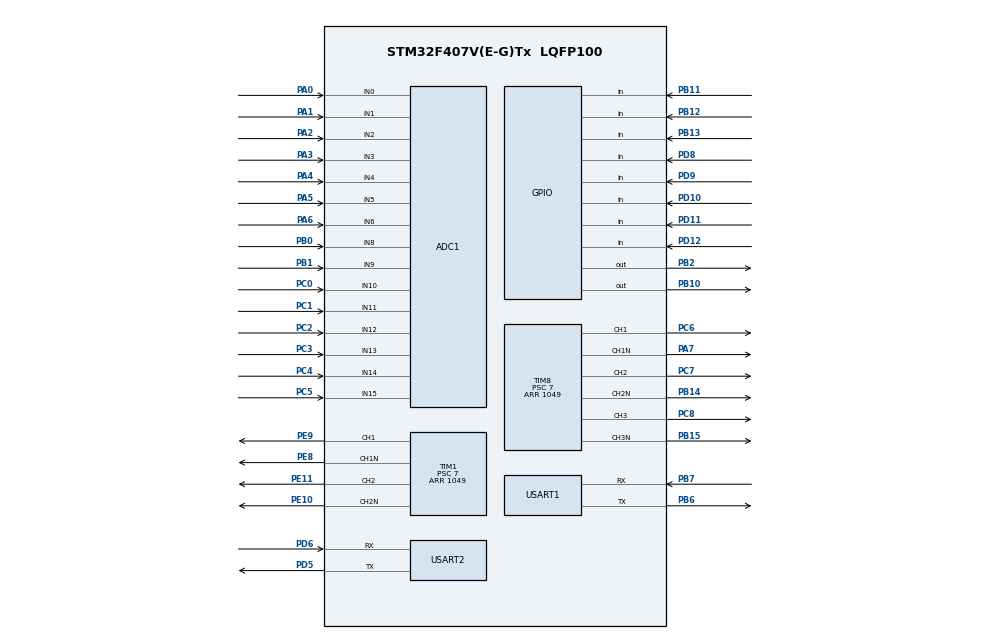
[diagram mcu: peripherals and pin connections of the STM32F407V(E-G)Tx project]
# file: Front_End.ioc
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ADC1.Channel-10\#ChannelRegularConversion=ADC_CHANNEL_2
ADC1.Channel-11\#ChannelRegularConversion=ADC_CHANNEL_3
ADC1.Channel-12\#ChannelRegularConversion=ADC_CHANNEL_4
ADC1.Channel-13\#ChannelRegularConversion=ADC_CHANNEL_5
ADC1.Channel-14\#ChannelRegularConversion=ADC_CHANNEL_6
ADC1.Channel-15\#ChannelRegularConversion=ADC_CHANNEL_8
ADC1.Channel-16\#ChannelRegularConversion=ADC_CHANNEL_9
ADC1.Channel-17\#ChannelRegularConversion=ADC_CHANNEL_10
ADC1.Channel-18\#ChannelRegularConversion=ADC_CHANNEL_11
ADC1.Channel-19\#ChannelRegularConversion=ADC_CHANNEL_12
ADC1.Channel-20\#ChannelRegularConversion=ADC_CHANNEL_13
ADC1.Channel-21\#ChannelRegularConversion=ADC_CHANNEL_14
ADC1.Channel-22\#ChannelRegularConversion=ADC_CHANNEL_15
ADC1.Channel-8\#ChannelRegularConversion=ADC_CHANNEL_0
ADC1.Channel-9\#ChannelRegularConversion=ADC_CHANNEL_1
ADC1.DMAContinuousRequests=ENABLE
ADC1.ExternalTrigConv=ADC_EXTERNALTRIGCONV_T8_TRGO
ADC1.NbrOfConversion=15
ADC1.NbrOfConversionFlag=1
ADC1.Rank-10\#ChannelRegularConversion=3
ADC1.Rank-11\#ChannelRegularConversion=4
ADC1.Rank-12\#ChannelRegularConversion=5
ADC1.Rank-13\#ChannelRegularConversion=6
ADC1.Rank-14\#ChannelRegularConversion=7
ADC1.Rank-15\#ChannelRegularConversion=8
ADC1.Rank-16\#ChannelRegularConversion=9
ADC1.Rank-17\#ChannelRegularConversion=10
ADC1.Rank-18\#ChannelRegularConversion=11
ADC1.Rank-19\#ChannelRegularConversion=12
ADC1.Rank-20\#ChannelRegularConversion=13
ADC1.Rank-21\#ChannelRegularConversion=14
ADC1.Rank-22\#ChannelRegularConversion=15
ADC1.Rank-8\#ChannelRegularConversion=1
ADC1.Rank-9\#ChannelRegularConversion=2
ADC1.SamplingTime-10\#ChannelRegularConversion=ADC_SAMPLETIME_3CYCLES
ADC1.SamplingTime-11\#ChannelRegularConversion=ADC_SAMPLETIME_3CYCLES
ADC1.SamplingTime-12\#ChannelRegularConversion=ADC_SAMPLETIME_3CYCLES
ADC1.SamplingTime-13\#ChannelRegularConversion=ADC_SAMPLETIME_3CYCLES
ADC1.SamplingTime-14\#ChannelRegularConversion=ADC_SAMPLETIME_3CYCLES
ADC1.SamplingTime-15\#ChannelRegularConversion=ADC_SAMPLETIME_3CYCLES
ADC1.SamplingTime-16\#ChannelRegularConversion=ADC_SAMPLETIME_3CYCLES
ADC1.SamplingTime-17\#ChannelRegularConversion=ADC_SAMPLETIME_3CYCLES
ADC1.SamplingTime-18\#ChannelRegularConversion=ADC_SAMPLETIME_3CYCLES
ADC1.SamplingTime-19\#ChannelRegularConversion=ADC_SAMPLETIME_3CYCLES
ADC1.SamplingTime-20\#ChannelRegularConversion=ADC_SAMPLETIME_3CYCLES
ADC1.SamplingTime-21\#ChannelRegularConversion=ADC_SAMPLETIME_3CYCLES
ADC1.SamplingTime-22\#ChannelRegularConversion=ADC_SAMPLETIME_3CYCLES
ADC1.SamplingTime-8\#ChannelRegularConversion=ADC_SAMPLETIME_3CYCLES
ADC1.SamplingTime-9\#ChannelRegularConversion=ADC_SAMPLETIME_3CYCLES
ADC1.ScanConvMode=ENABLE
ADC1.master=1
Dma.ADC1.0.Direction=DMA_PERIPH_TO_MEMORY
Dma.ADC1.0.FIFOMode=DMA_FIFOMODE_DISABLE
Dma.ADC1.0.Instance=DMA2_Stream0
Dma.ADC1.0.MemDataAlignment=DMA_MDATAALIGN_HALFWORD
Dma.ADC1.0.MemInc=DMA_MINC_ENABLE
Dma.ADC1.0.Mode=DMA_CIRCULAR
Dma.ADC1.0.PeriphDataAlignment=DMA_PDATAALIGN_HALFWORD
Dma.ADC1.0.PeriphInc=DMA_PINC_DISABLE
Dma.ADC1.0.Priority=DMA_PRIORITY_HIGH
Dma.Request0=ADC1
Mcu.Family=STM32F4
Mcu.Name=STM32F407V(E-G)Tx
Mcu.Package=LQFP100
NVIC.DMA2_Stream0_IRQn=true\:0\:0\:false\:false\:true\:false\:true\:true
NVIC.PriorityGroup=NVIC_PRIORITYGROUP_0
NVIC.TIM3_IRQn=true\:0\:0\:false\:false\:true\:true\:true\:true
NVIC.TIM8_UP_TIM13_IRQn=true\:0\:0\:false\:false\:true\:true\:true\:true
PA0-WKUP.Signal=ADCx_IN0
PA1.Signal=ADCx_IN1
PA13.Mode=Serial_Wire
PA13.Signal=SYS_JTMS-SWDIO
PA14.Mode=Serial_Wire
PA14.Signal=SYS_JTCK-SWCLK
PA2.Signal=ADCx_IN2
PA3.Signal=ADCx_IN3
PA4.Signal=ADCx_IN4
PA5.Signal=ADCx_IN5
PA6.Signal=ADCx_IN6
PA7.Mode=PWM Generation1 CH1 CH1N
PA7.Signal=TIM8_CH1N
PB0.Signal=ADCx_IN8
PB1.Signal=ADCx_IN9
PB10.Signal=GPIO_Output
PB11.Signal=GPIO_Input
PB12.Signal=GPIO_Input
PB13.Signal=GPIO_Input
PB14.Mode=PWM Generation2 CH2 CH2N
PB14.Signal=TIM8_CH2N
PB15.Mode=PWM Generation3 CH3 CH3N
PB15.Signal=TIM8_CH3N
PB2.Signal=GPIO_Output
PB6.Mode=Asynchronous
PB6.Signal=USART1_TX
PB7.Mode=Asynchronous
PB7.Signal=USART1_RX
PC0.Signal=ADCx_IN10
PC1.Signal=ADCx_IN11
PC2.Signal=ADCx_IN12
PC3.Signal=ADCx_IN13
PC4.Signal=ADCx_IN14
PC5.Signal=ADCx_IN15
PC6.Signal=S_TIM8_CH1
PC7.Signal=S_TIM8_CH2
PC8.Signal=S_TIM8_CH3
PD10.Signal=GPIO_Input
PD11.Signal=GPIO_Input
PD12.Signal=GPIO_Input
PD5.Mode=Asynchronous
PD5.Signal=USART2_TX
PD6.Mode=Asynchronous
PD6.Signal=USART2_RX
PD8.Signal=GPIO_Input
PD9.Signal=GPIO_Input
PE10.Mode=PWM Generation2 CH2 CH2N
PE10.Signal=TIM1_CH2N
PE11.Signal=S_TIM1_CH2
PE8.Mode=PWM Generation1 CH1 CH1N
PE8.Signal=TIM1_CH1N
PE9.Signal=S_TIM1_CH1
ProjectManager.HeapSize=0x200
ProjectManager.StackSize=0x400
ProjectManager.TargetToolchain=STM32CubeIDE
RCC.48MHZClocksFreq_Value=48000000
RCC.AHBFreq_Value=168000000
RCC.APB1CLKDivider=RCC_HCLK_DIV4
RCC.APB1Freq_Value=42000000
RCC.APB1TimFreq_Value=84000000
RCC.APB2CLKDivider=RCC_HCLK_DIV2
RCC.APB2Freq_Value=84000000
RCC.APB2TimFreq_Value=168000000
RCC.CortexFreq_Value=168000000
RCC.HCLKFreq_Value=168000000
RCC.HSE_VALUE=8000000
RCC.HSI_VALUE=16000000
RCC.LSE_VALUE=32768
RCC.PLLM=8
RCC.PLLN=168
RCC.PLLQ=7
RCC.SYSCLKFreq_VALUE=168000000
RCC.SYSCLKSource=RCC_SYSCLKSOURCE_PLLCLK
RCC.VCOOutputFreq_Value=336000000
SH.ADCx_IN0.0=ADC1_IN0,IN0
SH.ADCx_IN1.0=ADC1_IN1,IN1
SH.ADCx_IN10.0=ADC1_IN10,IN10
SH.ADCx_IN11.0=ADC1_IN11,IN11
SH.ADCx_IN12.0=ADC1_IN12,IN12
SH.ADCx_IN13.0=ADC1_IN13,IN13
SH.ADCx_IN14.0=ADC1_IN14,IN14
SH.ADCx_IN15.0=ADC1_IN15,IN15
SH.ADCx_IN2.0=ADC1_IN2,IN2
SH.ADCx_IN3.0=ADC1_IN3,IN3
SH.ADCx_IN4.0=ADC1_IN4,IN4
SH.ADCx_IN5.0=ADC1_IN5,IN5
SH.ADCx_IN6.0=ADC1_IN6,IN6
SH.ADCx_IN8.0=ADC1_IN8,IN8
SH.ADCx_IN9.0=ADC1_IN9,IN9
SH.S_TIM1_CH1.0=TIM1_CH1,PWM Generation1 CH1 CH1N
SH.S_TIM1_CH2.0=TIM1_CH2,PWM Generation2 CH2 CH2N
SH.S_TIM8_CH1.0=TIM8_CH1,PWM Generation1 CH1 CH1N
SH.S_TIM8_CH2.0=TIM8_CH2,PWM Generation2 CH2 CH2N
SH.S_TIM8_CH3.0=TIM8_CH3,PWM Generation3 CH3 CH3N
TIM1.AutomaticOutput=TIM_AUTOMATICOUTPUT_ENABLE
TIM1.BreakState=TIM_BREAK_ENABLE
TIM1.Channel-PWM\ Generation1\ CH1\ CH1N=TIM_CHANNEL_1
TIM1.Channel-PWM\ Generation2\ CH2\ CH2N=TIM_CHANNEL_2
TIM1.CounterMode=TIM_COUNTERMODE_CENTERALIGNED1
TIM1.DeadTime=0x22
TIM1.Period=1049
TIM1.Prescaler=7
TIM1.RepetitionCounter=1
TIM3.Period=55
TIM3.Prescaler=84-1
TIM8.AutomaticOutput=TIM_AUTOMATICOUTPUT_ENABLE
TIM8.BreakState=TIM_BREAK_ENABLE
TIM8.Channel-PWM\ Generation1\ CH1\ CH1N=TIM_CHANNEL_1
TIM8.Channel-PWM\ Generation2\ CH2\ CH2N=TIM_CHANNEL_2
TIM8.Channel-PWM\ Generation3\ CH3\ CH3N=TIM_CHANNEL_3
TIM8.CounterMode=TIM_COUNTERMODE_CENTERALIGNED1
TIM8.DeadTime=0xca
TIM8.Period=1049
TIM8.Prescaler=7
TIM8.RepetitionCounter=1
TIM8.TIM_MasterOutputTrigger=TIM_TRGO_UPDATE
TIM8.TIM_MasterSlaveMode=TIM_MASTERSLAVEMODE_ENABLE
USART1.VirtualMode=VM_ASYNC
USART2.VirtualMode=VM_ASYNC
VP_TIM1_VS_ClockSourceINT.Mode=Internal
VP_TIM1_VS_ClockSourceITR.Mode=TriggerSource_ITR3
VP_TIM1_VS_ControllerModeTrigger.Mode=Trigger Mode
VP_TIM3_VS_ClockSourceINT.Mode=Internal
VP_TIM8_VS_ClockSourceINT.Mode=Internal
board=STM32F407G-DISC1

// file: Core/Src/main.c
/* USER CODE BEGIN Header */
/**
  ******************************************************************************
  * @file           : main.c
  * @brief          : Main program body
  ******************************************************************************
  * @attention
  *
  * Copyright (c) 2025 STMicroelectronics.
  * All rights reserved.
  *
  * This software is licensed under terms that can be found in the LICENSE file
  * in the root directory of this software component.
  * If no LICENSE file comes with this software, it is provided AS-IS.
  *
  ******************************************************************************
  */
/* USER CODE END Header */
#include "main.h"

/* USER CODE BEGIN Includes */
#include "stm32f4xx.h"
#include <stdint.h>
#include "variables.h"
#include <math.h>

/* USER CODE END Includes */

UART_HandleTypeDef huart1;

/* USER CODE BEGIN PV */

uint16_t a = 0;
uint16_t b = 0;

/* USER CODE END PV */

void SystemClock_Config(void);
static void MX_GPIO_Init(void);
static void MX_DMA_Init(void);
static void MX_TIM3_Init(void);
static void MX_TIM8_Init(void);
static void MX_ADC1_Init(void);
static void MX_USART2_UART_Init(void);
static void MX_TIM1_Init(void);
static void MX_USART1_UART_Init(void);

int main(void)
{

  /* MCU Configuration--------------------------------------------------------*/

  /* Reset of all peripherals, Initializes the Flash interface and the Systick. */
  HAL_Init();

  /* Configure the system clock */
  SystemClock_Config();

  /* Initialize all configured peripherals */
  MX_GPIO_Init();
  MX_DMA_Init();
  MX_TIM3_Init();
  MX_TIM8_Init();
  MX_ADC1_Init();
  MX_USART2_UART_Init();
  MX_TIM1_Init();
  MX_USART1_UART_Init();

  /* Infinite loop */
  while (1)
  {

    /* USER CODE BEGIN 3 */
	  convert_txn_array_to_base64();
	  rms_calculation_to_be_placed_in_while_loop();
	  avg_calculation_to_be_placed_in_while_loop();
  }
  /* USER CODE END 3 */
}

void SystemClock_Config(void)
{
  LL_FLASH_SetLatency(LL_FLASH_LATENCY_5);
  while(LL_FLASH_GetLatency()!= LL_FLASH_LATENCY_5)
  {
  }
  LL_PWR_SetRegulVoltageScaling(LL_PWR_REGU_VOLTAGE_SCALE1);
  LL_RCC_HSI_SetCalibTrimming(16);
  LL_RCC_HSI_Enable();

   /* Wait till HSI is ready */
  while(LL_RCC_HSI_IsReady() != 1)
  {

  }
  LL_RCC_PLL_ConfigDomain_SYS(LL_RCC_PLLSOURCE_HSI, LL_RCC_PLLM_DIV_8, 168, LL_RCC_PLLP_DIV_2);
  LL_RCC_PLL_Enable();

   /* Wait till PLL is ready */
  while(LL_RCC_PLL_IsReady() != 1)
  {

  }
  while (LL_PWR_IsActiveFlag_VOS() == 0)
  {
  }
  LL_RCC_SetAHBPrescaler(LL_RCC_SYSCLK_DIV_1);
  LL_RCC_SetAPB1Prescaler(LL_RCC_APB1_DIV_4);
  LL_RCC_SetAPB2Prescaler(LL_RCC_APB2_DIV_2);
  LL_RCC_SetSysClkSource(LL_RCC_SYS_CLKSOURCE_PLL);

   /* Wait till System clock is ready */
  while(LL_RCC_GetSysClkSource() != LL_RCC_SYS_CLKSOURCE_STATUS_PLL)
  {

  }
  LL_SetSystemCoreClock(168000000);

   /* Update the time base */
  if (HAL_InitTick (TICK_INT_PRIORITY) != HAL_OK)
  {
    Error_Handler();
  }
}

static void MX_ADC1_Init(void)
{

  LL_ADC_InitTypeDef ADC_InitStruct = {0};
  LL_ADC_REG_InitTypeDef ADC_REG_InitStruct = {0};
  LL_ADC_CommonInitTypeDef ADC_CommonInitStruct = {0};

  LL_GPIO_InitTypeDef GPIO_InitStruct = {0};

  /* Peripheral clock enable */
  LL_APB2_GRP1_EnableClock(LL_APB2_GRP1_PERIPH_ADC1);

  LL_AHB1_GRP1_EnableClock(LL_AHB1_GRP1_PERIPH_GPIOC);
  LL_AHB1_GRP1_EnableClock(LL_AHB1_GRP1_PERIPH_GPIOA);
  LL_AHB1_GRP1_EnableClock(LL_AHB1_GRP1_PERIPH_GPIOB);
  /**ADC1 GPIO Configuration
  PC0   ------> ADC1_IN10
  PC1   ------> ADC1_IN11
  PC2   ------> ADC1_IN12
  PC3   ------> ADC1_IN13
  PA0-WKUP   ------> ADC1_IN0
  PA1   ------> ADC1_IN1
  PA2   ------> ADC1_IN2
  PA3   ------> ADC1_IN3
  PA4   ------> ADC1_IN4
  PA5   ------> ADC1_IN5
  PA6   ------> ADC1_IN6
  PC4   ------> ADC1_IN14
  PC5   ------> ADC1_IN15
  PB0   ------> ADC1_IN8
  PB1   ------> ADC1_IN9
  */
  GPIO_InitStruct.Pin = LL_GPIO_PIN_0|LL_GPIO_PIN_1|LL_GPIO_PIN_2|LL_GPIO_PIN_3
                          |LL_GPIO_PIN_4|LL_GPIO_PIN_5;
  GPIO_InitStruct.Mode = LL_GPIO_MODE_ANALOG;
  GPIO_InitStruct.Pull = LL_GPIO_PULL_NO;
  LL_GPIO_Init(GPIOC, &GPIO_InitStruct);

  GPIO_InitStruct.Pin = LL_GPIO_PIN_0|LL_GPIO_PIN_1|LL_GPIO_PIN_2|LL_GPIO_PIN_3
                          |LL_GPIO_PIN_4|LL_GPIO_PIN_5|LL_GPIO_PIN_6;
  GPIO_InitStruct.Mode = LL_GPIO_MODE_ANALOG;
  GPIO_InitStruct.Pull = LL_GPIO_PULL_NO;
  LL_GPIO_Init(GPIOA, &GPIO_InitStruct);

  GPIO_InitStruct.Pin = LL_GPIO_PIN_0|LL_GPIO_PIN_1;
  GPIO_InitStruct.Mode = LL_GPIO_MODE_ANALOG;
  GPIO_InitStruct.Pull = LL_GPIO_PULL_NO;
  LL_GPIO_Init(GPIOB, &GPIO_InitStruct);

  /* ADC1 DMA Init */

  /* ADC1 Init */
  LL_DMA_SetChannelSelection(DMA2, LL_DMA_STREAM_0, LL_DMA_CHANNEL_0);

  LL_DMA_SetDataTransferDirection(DMA2, LL_DMA_STREAM_0, LL_DMA_DIRECTION_PERIPH_TO_MEMORY);

  LL_DMA_SetStreamPriorityLevel(DMA2, LL_DMA_STREAM_0, LL_DMA_PRIORITY_HIGH);

  LL_DMA_SetMode(DMA2, LL_DMA_STREAM_0, LL_DMA_MODE_CIRCULAR);

  LL_DMA_SetPeriphIncMode(DMA2, LL_DMA_STREAM_0, LL_DMA_PERIPH_NOINCREMENT);

  LL_DMA_SetMemoryIncMode(DMA2, LL_DMA_STREAM_0, LL_DMA_MEMORY_INCREMENT);

  LL_DMA_SetPeriphSize(DMA2, LL_DMA_STREAM_0, LL_DMA_PDATAALIGN_HALFWORD);

  LL_DMA_SetMemorySize(DMA2, LL_DMA_STREAM_0, LL_DMA_MDATAALIGN_HALFWORD);

  LL_DMA_DisableFifoMode(DMA2, LL_DMA_STREAM_0);

  /** Common config
  */
  ADC_InitStruct.Resolution = LL_ADC_RESOLUTION_12B;
  ADC_InitStruct.DataAlignment = LL_ADC_DATA_ALIGN_RIGHT;
  ADC_InitStruct.SequencersScanMode = LL_ADC_SEQ_SCAN_ENABLE;
  LL_ADC_Init(ADC1, &ADC_InitStruct);
  ADC_REG_InitStruct.TriggerSource = LL_ADC_REG_TRIG_EXT_TIM8_TRGO;
  ADC_REG_InitStruct.SequencerLength = LL_ADC_REG_SEQ_SCAN_ENABLE_15RANKS;
  ADC_REG_InitStruct.SequencerDiscont = LL_ADC_REG_SEQ_DISCONT_DISABLE;
  ADC_REG_InitStruct.ContinuousMode = LL_ADC_REG_CONV_SINGLE;
  ADC_REG_InitStruct.DMATransfer = LL_ADC_REG_DMA_TRANSFER_UNLIMITED;
  LL_ADC_REG_Init(ADC1, &ADC_REG_InitStruct);
  LL_ADC_REG_SetFlagEndOfConversion(ADC1, LL_ADC_REG_FLAG_EOC_UNITARY_CONV);
  ADC_CommonInitStruct.CommonClock = LL_ADC_CLOCK_SYNC_PCLK_DIV4;
  ADC_CommonInitStruct.Multimode = LL_ADC_MULTI_INDEPENDENT;
  LL_ADC_CommonInit(__LL_ADC_COMMON_INSTANCE(ADC1), &ADC_CommonInitStruct);
  LL_ADC_REG_StartConversionExtTrig(ADC1, LL_ADC_REG_TRIG_EXT_RISING);

  /** Configure Regular Channel
  */
  LL_ADC_REG_SetSequencerRanks(ADC1, LL_ADC_REG_RANK_1, LL_ADC_CHANNEL_0);
  LL_ADC_SetChannelSamplingTime(ADC1, LL_ADC_CHANNEL_0, LL_ADC_SAMPLINGTIME_3CYCLES);

  /** Configure Regular Channel
  */
  LL_ADC_REG_SetSequencerRanks(ADC1, LL_ADC_REG_RANK_2, LL_ADC_CHANNEL_1);
  LL_ADC_SetChannelSamplingTime(ADC1, LL_ADC_CHANNEL_1, LL_ADC_SAMPLINGTIME_3CYCLES);

  /** Configure Regular Channel
  */
  LL_ADC_REG_SetSequencerRanks(ADC1, LL_ADC_REG_RANK_3, LL_ADC_CHANNEL_2);
  LL_ADC_SetChannelSamplingTime(ADC1, LL_ADC_CHANNEL_2, LL_ADC_SAMPLINGTIME_3CYCLES);

  /** Configure Regular Channel
  */
  LL_ADC_REG_SetSequencerRanks(ADC1, LL_ADC_REG_RANK_4, LL_ADC_CHANNEL_3);
  LL_ADC_SetChannelSamplingTime(ADC1, LL_ADC_CHANNEL_3, LL_ADC_SAMPLINGTIME_3CYCLES);

  /** Configure Regular Channel
  */
  LL_ADC_REG_SetSequencerRanks(ADC1, LL_ADC_REG_RANK_5, LL_ADC_CHANNEL_4);
  LL_ADC_SetChannelSamplingTime(ADC1, LL_ADC_CHANNEL_4, LL_ADC_SAMPLINGTIME_3CYCLES);

  /** Configure Regular Channel
  */
  LL_ADC_REG_SetSequencerRanks(ADC1, LL_ADC_REG_RANK_6, LL_ADC_CHANNEL_5);
  LL_ADC_SetChannelSamplingTime(ADC1, LL_ADC_CHANNEL_5, LL_ADC_SAMPLINGTIME_3CYCLES);

  /** Configure Regular Channel
  */
  LL_ADC_REG_SetSequencerRanks(ADC1, LL_ADC_REG_RANK_7, LL_ADC_CHANNEL_6);
  LL_ADC_SetChannelSamplingTime(ADC1, LL_ADC_CHANNEL_6, LL_ADC_SAMPLINGTIME_3CYCLES);

  /** Configure Regular Channel
  */
  LL_ADC_REG_SetSequencerRanks(ADC1, LL_ADC_REG_RANK_8, LL_ADC_CHANNEL_8);
  LL_ADC_SetChannelSamplingTime(ADC1, LL_ADC_CHANNEL_8, LL_ADC_SAMPLINGTIME_3CYCLES);

  /** Configure Regular Channel
  */
  LL_ADC_REG_SetSequencerRanks(ADC1, LL_ADC_REG_RANK_9, LL_ADC_CHANNEL_9);
  LL_ADC_SetChannelSamplingTime(ADC1, LL_ADC_CHANNEL_9, LL_ADC_SAMPLINGTIME_3CYCLES);

  /** Configure Regular Channel
  */
  LL_ADC_REG_SetSequencerRanks(ADC1, LL_ADC_REG_RANK_10, LL_ADC_CHANNEL_10);
  LL_ADC_SetChannelSamplingTime(ADC1, LL_ADC_CHANNEL_10, LL_ADC_SAMPLINGTIME_3CYCLES);

  /** Configure Regular Channel
  */
  LL_ADC_REG_SetSequencerRanks(ADC1, LL_ADC_REG_RANK_11, LL_ADC_CHANNEL_11);
  LL_ADC_SetChannelSamplingTime(ADC1, LL_ADC_CHANNEL_11, LL_ADC_SAMPLINGTIME_3CYCLES);

  /** Configure Regular Channel
  */
  LL_ADC_REG_SetSequencerRanks(ADC1, LL_ADC_REG_RANK_12, LL_ADC_CHANNEL_12);
  LL_ADC_SetChannelSamplingTime(ADC1, LL_ADC_CHANNEL_12, LL_ADC_SAMPLINGTIME_3CYCLES);

  /** Configure Regular Channel
  */
  LL_ADC_REG_SetSequencerRanks(ADC1, LL_ADC_REG_RANK_13, LL_ADC_CHANNEL_13);
  LL_ADC_SetChannelSamplingTime(ADC1, LL_ADC_CHANNEL_13, LL_ADC_SAMPLINGTIME_3CYCLES);

  /** Configure Regular Channel
  */
  LL_ADC_REG_SetSequencerRanks(ADC1, LL_ADC_REG_RANK_14, LL_ADC_CHANNEL_14);
  LL_ADC_SetChannelSamplingTime(ADC1, LL_ADC_CHANNEL_14, LL_ADC_SAMPLINGTIME_3CYCLES);

  /** Configure Regular Channel
  */
  LL_ADC_REG_SetSequencerRanks(ADC1, LL_ADC_REG_RANK_15, LL_ADC_CHANNEL_15);
  LL_ADC_SetChannelSamplingTime(ADC1, LL_ADC_CHANNEL_15, LL_ADC_SAMPLINGTIME_3CYCLES);
  /* USER CODE BEGIN ADC1_Init 2 */

  LL_DMA_SetMemoryAddress(DMA2, LL_DMA_STREAM_0, (uint32_t)adc_buffer);
  LL_DMA_SetPeriphAddress(DMA2, LL_DMA_STREAM_0, (uint32_t)&ADC1->DR);
  LL_DMA_SetDataLength(DMA2, LL_DMA_STREAM_0, ADC_LENGHT);
  LL_DMA_EnableStream(DMA2, LL_DMA_STREAM_0);

  LL_ADC_Enable(ADC1);
  LL_ADC_REG_StartConversionExtTrig(ADC1, LL_ADC_REG_TRIG_EXT_RISING);

  /* USER CODE END ADC1_Init 2 */

}

static void MX_TIM1_Init(void)
{

  LL_TIM_InitTypeDef TIM_InitStruct = {0};
  LL_TIM_OC_InitTypeDef TIM_OC_InitStruct = {0};
  LL_TIM_BDTR_InitTypeDef TIM_BDTRInitStruct = {0};

  LL_GPIO_InitTypeDef GPIO_InitStruct = {0};

  /* Peripheral clock enable */
  LL_APB2_GRP1_EnableClock(LL_APB2_GRP1_PERIPH_TIM1);

  TIM_InitStruct.Prescaler = 7;
  TIM_InitStruct.CounterMode = LL_TIM_COUNTERMODE_CENTER_DOWN;
  TIM_InitStruct.Autoreload = 1049;
  TIM_InitStruct.ClockDivision = LL_TIM_CLOCKDIVISION_DIV1;
  TIM_InitStruct.RepetitionCounter = 1;
  LL_TIM_Init(TIM1, &TIM_InitStruct);
  LL_TIM_DisableARRPreload(TIM1);
  LL_TIM_SetClockSource(TIM1, LL_TIM_CLOCKSOURCE_INTERNAL);
  LL_TIM_OC_EnablePreload(TIM1, LL_TIM_CHANNEL_CH1);
  TIM_OC_InitStruct.OCMode = LL_TIM_OCMODE_PWM1;
  TIM_OC_InitStruct.OCState = LL_TIM_OCSTATE_DISABLE;
  TIM_OC_InitStruct.OCNState = LL_TIM_OCSTATE_DISABLE;
  TIM_OC_InitStruct.CompareValue = 0;
  TIM_OC_InitStruct.OCPolarity = LL_TIM_OCPOLARITY_HIGH;
  TIM_OC_InitStruct.OCNPolarity = LL_TIM_OCPOLARITY_HIGH;
  TIM_OC_InitStruct.OCIdleState = LL_TIM_OCIDLESTATE_LOW;
  TIM_OC_InitStruct.OCNIdleState = LL_TIM_OCIDLESTATE_LOW;
  LL_TIM_OC_Init(TIM1, LL_TIM_CHANNEL_CH1, &TIM_OC_InitStruct);
  LL_TIM_OC_DisableFast(TIM1, LL_TIM_CHANNEL_CH1);
  LL_TIM_OC_EnablePreload(TIM1, LL_TIM_CHANNEL_CH2);
  LL_TIM_OC_Init(TIM1, LL_TIM_CHANNEL_CH2, &TIM_OC_InitStruct);
  LL_TIM_OC_DisableFast(TIM1, LL_TIM_CHANNEL_CH2);
  LL_TIM_SetTriggerInput(TIM1, LL_TIM_TS_ITR3);
  LL_TIM_SetSlaveMode(TIM1, LL_TIM_SLAVEMODE_TRIGGER);
  LL_TIM_DisableIT_TRIG(TIM1);
  LL_TIM_DisableDMAReq_TRIG(TIM1);
  LL_TIM_SetTriggerOutput(TIM1, LL_TIM_TRGO_RESET);
  LL_TIM_DisableMasterSlaveMode(TIM1);
  TIM_BDTRInitStruct.OSSRState = LL_TIM_OSSR_DISABLE;
  TIM_BDTRInitStruct.OSSIState = LL_TIM_OSSI_DISABLE;
  TIM_BDTRInitStruct.LockLevel = LL_TIM_LOCKLEVEL_OFF;
  TIM_BDTRInitStruct.DeadTime = 0x22;
  TIM_BDTRInitStruct.BreakState = LL_TIM_BREAK_ENABLE;
  TIM_BDTRInitStruct.BreakPolarity = LL_TIM_BREAK_POLARITY_HIGH;
  TIM_BDTRInitStruct.AutomaticOutput = LL_TIM_AUTOMATICOUTPUT_ENABLE;
  LL_TIM_BDTR_Init(TIM1, &TIM_BDTRInitStruct);
  /* USER CODE BEGIN TIM1_Init 2 */

  TIM_OC_InitStruct.OCState = LL_TIM_OCSTATE_ENABLE;
  TIM_OC_InitStruct.OCNState = LL_TIM_OCSTATE_ENABLE;

//  LL_TIM_EnableIT_UPDATE(TIM1);
  LL_TIM_CC_EnableChannel(TIM1, LL_TIM_CHANNEL_CH1);
  LL_TIM_CC_EnableChannel(TIM1, LL_TIM_CHANNEL_CH2);

  LL_TIM_CC_EnableChannel(TIM1, LL_TIM_CHANNEL_CH1N);
  LL_TIM_CC_EnableChannel(TIM1, LL_TIM_CHANNEL_CH2N);

  // Enable main output for advanced timer (if not complementry or pwm won't work)
  LL_TIM_EnableAllOutputs(TIM1);

  // start counter
  LL_TIM_EnableCounter(TIM1);

  /* USER CODE END TIM1_Init 2 */
  LL_AHB1_GRP1_EnableClock(LL_AHB1_GRP1_PERIPH_GPIOE);
  /**TIM1 GPIO Configuration
  PE8   ------> TIM1_CH1N
  PE9   ------> TIM1_CH1
  PE10   ------> TIM1_CH2N
  PE11   ------> TIM1_CH2
  */
  GPIO_InitStruct.Pin = LL_GPIO_PIN_8|LL_GPIO_PIN_9|LL_GPIO_PIN_10|LL_GPIO_PIN_11;
  GPIO_InitStruct.Mode = LL_GPIO_MODE_ALTERNATE;
  GPIO_InitStruct.Speed = LL_GPIO_SPEED_FREQ_LOW;
  GPIO_InitStruct.OutputType = LL_GPIO_OUTPUT_PUSHPULL;
  GPIO_InitStruct.Pull = LL_GPIO_PULL_NO;
  GPIO_InitStruct.Alternate = LL_GPIO_AF_1;
  LL_GPIO_Init(GPIOE, &GPIO_InitStruct);

}

static void MX_TIM3_Init(void)
{

  LL_TIM_InitTypeDef TIM_InitStruct = {0};

  /* Peripheral clock enable */
  LL_APB1_GRP1_EnableClock(LL_APB1_GRP1_PERIPH_TIM3);

  /* TIM3 interrupt Init */
  NVIC_SetPriority(TIM3_IRQn, NVIC_EncodePriority(NVIC_GetPriorityGrouping(),0, 0));
  NVIC_EnableIRQ(TIM3_IRQn);

  /* USER CODE BEGIN TIM3_Init 1 */

  TIM_InitStruct.Prescaler = 83;
  TIM_InitStruct.CounterMode = LL_TIM_COUNTERMODE_UP;
  TIM_InitStruct.Autoreload = timer3_variables.Tim3_ARR_Value;

  /* USER CODE END TIM3_Init 1 */
  TIM_InitStruct.Prescaler = 83;
  TIM_InitStruct.CounterMode = LL_TIM_COUNTERMODE_UP;
  TIM_InitStruct.Autoreload = 55;
  TIM_InitStruct.ClockDivision = LL_TIM_CLOCKDIVISION_DIV1;
  LL_TIM_Init(TIM3, &TIM_InitStruct);
  LL_TIM_DisableARRPreload(TIM3);
  LL_TIM_SetClockSource(TIM3, LL_TIM_CLOCKSOURCE_INTERNAL);
  LL_TIM_SetTriggerOutput(TIM3, LL_TIM_TRGO_RESET);
  LL_TIM_DisableMasterSlaveMode(TIM3);
  /* USER CODE BEGIN TIM3_Init 2 */

  LL_TIM_EnableIT_UPDATE(TIM3);
  LL_TIM_EnableCounter(TIM3);

  /* USER CODE END TIM3_Init 2 */

}

static void MX_TIM8_Init(void)
{

  LL_TIM_InitTypeDef TIM_InitStruct = {0};
  LL_TIM_OC_InitTypeDef TIM_OC_InitStruct = {0};
  LL_TIM_BDTR_InitTypeDef TIM_BDTRInitStruct = {0};

  LL_GPIO_InitTypeDef GPIO_InitStruct = {0};

  /* Peripheral clock enable */
  LL_APB2_GRP1_EnableClock(LL_APB2_GRP1_PERIPH_TIM8);

  /* TIM8 interrupt Init */
  NVIC_SetPriority(TIM8_UP_TIM13_IRQn, NVIC_EncodePriority(NVIC_GetPriorityGrouping(),0, 0));
  NVIC_EnableIRQ(TIM8_UP_TIM13_IRQn);

  TIM_InitStruct.Prescaler = 7;
  TIM_InitStruct.CounterMode = LL_TIM_COUNTERMODE_CENTER_DOWN;
  TIM_InitStruct.Autoreload = 1049;
  TIM_InitStruct.ClockDivision = LL_TIM_CLOCKDIVISION_DIV1;
  TIM_InitStruct.RepetitionCounter = 1;
  LL_TIM_Init(TIM8, &TIM_InitStruct);
  LL_TIM_DisableARRPreload(TIM8);
  LL_TIM_SetClockSource(TIM8, LL_TIM_CLOCKSOURCE_INTERNAL);
  LL_TIM_OC_EnablePreload(TIM8, LL_TIM_CHANNEL_CH1);
  TIM_OC_InitStruct.OCMode = LL_TIM_OCMODE_PWM1;
  TIM_OC_InitStruct.OCState = LL_TIM_OCSTATE_DISABLE;
  TIM_OC_InitStruct.OCNState = LL_TIM_OCSTATE_DISABLE;
  TIM_OC_InitStruct.CompareValue = 0;
  TIM_OC_InitStruct.OCPolarity = LL_TIM_OCPOLARITY_HIGH;
  TIM_OC_InitStruct.OCNPolarity = LL_TIM_OCPOLARITY_HIGH;
  TIM_OC_InitStruct.OCIdleState = LL_TIM_OCIDLESTATE_LOW;
  TIM_OC_InitStruct.OCNIdleState = LL_TIM_OCIDLESTATE_LOW;
  LL_TIM_OC_Init(TIM8, LL_TIM_CHANNEL_CH1, &TIM_OC_InitStruct);
  LL_TIM_OC_DisableFast(TIM8, LL_TIM_CHANNEL_CH1);
  LL_TIM_OC_EnablePreload(TIM8, LL_TIM_CHANNEL_CH2);
  LL_TIM_OC_Init(TIM8, LL_TIM_CHANNEL_CH2, &TIM_OC_InitStruct);
  LL_TIM_OC_DisableFast(TIM8, LL_TIM_CHANNEL_CH2);
  LL_TIM_OC_EnablePreload(TIM8, LL_TIM_CHANNEL_CH3);
  LL_TIM_OC_Init(TIM8, LL_TIM_CHANNEL_CH3, &TIM_OC_InitStruct);
  LL_TIM_OC_DisableFast(TIM8, LL_TIM_CHANNEL_CH3);
  LL_TIM_SetTriggerOutput(TIM8, LL_TIM_TRGO_UPDATE);
  LL_TIM_EnableMasterSlaveMode(TIM8);
  TIM_BDTRInitStruct.OSSRState = LL_TIM_OSSR_DISABLE;
  TIM_BDTRInitStruct.OSSIState = LL_TIM_OSSI_DISABLE;
  TIM_BDTRInitStruct.LockLevel = LL_TIM_LOCKLEVEL_OFF;
  TIM_BDTRInitStruct.DeadTime = 0xca;
  TIM_BDTRInitStruct.BreakState = LL_TIM_BREAK_ENABLE;
  TIM_BDTRInitStruct.BreakPolarity = LL_TIM_BREAK_POLARITY_HIGH;
  TIM_BDTRInitStruct.AutomaticOutput = LL_TIM_AUTOMATICOUTPUT_ENABLE;
  LL_TIM_BDTR_Init(TIM8, &TIM_BDTRInitStruct);
  /* USER CODE BEGIN TIM8_Init 2 */

  TIM_OC_InitStruct.OCState = LL_TIM_OCSTATE_ENABLE;
  TIM_OC_InitStruct.OCNState = LL_TIM_OCSTATE_ENABLE;

  LL_TIM_EnableIT_UPDATE(TIM8);
  LL_TIM_SetTriggerOutput(TIM8, LL_TIM_TRGO_UPDATE);

  // Enable PWM channels
  LL_TIM_CC_EnableChannel(TIM8, LL_TIM_CHANNEL_CH1);
  LL_TIM_CC_EnableChannel(TIM8, LL_TIM_CHANNEL_CH2);
  LL_TIM_CC_EnableChannel(TIM8, LL_TIM_CHANNEL_CH3);

  // Enable complementary outputs
  LL_TIM_CC_EnableChannel(TIM8, LL_TIM_CHANNEL_CH1N);
  LL_TIM_CC_EnableChannel(TIM8, LL_TIM_CHANNEL_CH2N);
  LL_TIM_CC_EnableChannel(TIM8, LL_TIM_CHANNEL_CH3N);

  // Enable main output for advanced timer (if not complementry or pwm won't work)
  LL_TIM_EnableAllOutputs(TIM8);

  // start counter
  LL_TIM_EnableCounter(TIM8);

  /* USER CODE END TIM8_Init 2 */
  LL_AHB1_GRP1_EnableClock(LL_AHB1_GRP1_PERIPH_GPIOA);
  LL_AHB1_GRP1_EnableClock(LL_AHB1_GRP1_PERIPH_GPIOB);
  LL_AHB1_GRP1_EnableClock(LL_AHB1_GRP1_PERIPH_GPIOC);
  /**TIM8 GPIO Configuration
  PA7   ------> TIM8_CH1N
  PB14   ------> TIM8_CH2N
  PB15   ------> TIM8_CH3N
  PC6   ------> TIM8_CH1
  PC7   ------> TIM8_CH2
  PC8   ------> TIM8_CH3
  */
  GPIO_InitStruct.Pin = LL_GPIO_PIN_7;
  GPIO_InitStruct.Mode = LL_GPIO_MODE_ALTERNATE;
  GPIO_InitStruct.Speed = LL_GPIO_SPEED_FREQ_LOW;
  GPIO_InitStruct.OutputType = LL_GPIO_OUTPUT_PUSHPULL;
  GPIO_InitStruct.Pull = LL_GPIO_PULL_NO;
  GPIO_InitStruct.Alternate = LL_GPIO_AF_3;
  LL_GPIO_Init(GPIOA, &GPIO_InitStruct);

  GPIO_InitStruct.Pin = LL_GPIO_PIN_14|LL_GPIO_PIN_15;
  GPIO_InitStruct.Mode = LL_GPIO_MODE_ALTERNATE;
  GPIO_InitStruct.Speed = LL_GPIO_SPEED_FREQ_LOW;
  GPIO_InitStruct.OutputType = LL_GPIO_OUTPUT_PUSHPULL;
  GPIO_InitStruct.Pull = LL_GPIO_PULL_NO;
  GPIO_InitStruct.Alternate = LL_GPIO_AF_3;
  LL_GPIO_Init(GPIOB, &GPIO_InitStruct);

  GPIO_InitStruct.Pin = LL_GPIO_PIN_6|LL_GPIO_PIN_7|LL_GPIO_PIN_8;
  GPIO_InitStruct.Mode = LL_GPIO_MODE_ALTERNATE;
  GPIO_InitStruct.Speed = LL_GPIO_SPEED_FREQ_LOW;
  GPIO_InitStruct.OutputType = LL_GPIO_OUTPUT_PUSHPULL;
  GPIO_InitStruct.Pull = LL_GPIO_PULL_NO;
  GPIO_InitStruct.Alternate = LL_GPIO_AF_3;
  LL_GPIO_Init(GPIOC, &GPIO_InitStruct);

}

static void MX_USART1_UART_Init(void)
{

  huart1.Instance = USART1;
  huart1.Init.BaudRate = 115200;
  huart1.Init.WordLength = UART_WORDLENGTH_8B;
  huart1.Init.StopBits = UART_STOPBITS_1;
  huart1.Init.Parity = UART_PARITY_NONE;
  huart1.Init.Mode = UART_MODE_TX_RX;
  huart1.Init.HwFlowCtl = UART_HWCONTROL_NONE;
  huart1.Init.OverSampling = UART_OVERSAMPLING_16;
  if (HAL_UART_Init(&huart1) != HAL_OK)
  {
    Error_Handler();
  }

}

static void MX_USART2_UART_Init(void)
{

  LL_USART_InitTypeDef USART_InitStruct = {0};

  LL_GPIO_InitTypeDef GPIO_InitStruct = {0};

  /* Peripheral clock enable */
  LL_APB1_GRP1_EnableClock(LL_APB1_GRP1_PERIPH_USART2);

  LL_AHB1_GRP1_EnableClock(LL_AHB1_GRP1_PERIPH_GPIOD);
  /**USART2 GPIO Configuration
  PD5   ------> USART2_TX
  PD6   ------> USART2_RX
  */
  GPIO_InitStruct.Pin = LL_GPIO_PIN_5|LL_GPIO_PIN_6;
  GPIO_InitStruct.Mode = LL_GPIO_MODE_ALTERNATE;
  GPIO_InitStruct.Speed = LL_GPIO_SPEED_FREQ_VERY_HIGH;
  GPIO_InitStruct.OutputType = LL_GPIO_OUTPUT_PUSHPULL;
  GPIO_InitStruct.Pull = LL_GPIO_PULL_NO;
  GPIO_InitStruct.Alternate = LL_GPIO_AF_7;
  LL_GPIO_Init(GPIOD, &GPIO_InitStruct);

  USART_InitStruct.BaudRate = 115200;
  USART_InitStruct.DataWidth = LL_USART_DATAWIDTH_8B;
  USART_InitStruct.StopBits = LL_USART_STOPBITS_1;
  USART_InitStruct.Parity = LL_USART_PARITY_NONE;
  USART_InitStruct.TransferDirection = LL_USART_DIRECTION_TX_RX;
  USART_InitStruct.HardwareFlowControl = LL_USART_HWCONTROL_NONE;
  USART_InitStruct.OverSampling = LL_USART_OVERSAMPLING_16;
  LL_USART_Init(USART2, &USART_InitStruct);
  LL_USART_ConfigAsyncMode(USART2);
  LL_USART_Enable(USART2);

}

static void MX_DMA_Init(void)
{

  /* Init with LL driver */
  /* DMA controller clock enable */
  LL_AHB1_GRP1_EnableClock(LL_AHB1_GRP1_PERIPH_DMA2);

  /* DMA interrupt init */
  /* DMA2_Stream0_IRQn interrupt configuration */
  NVIC_SetPriority(DMA2_Stream0_IRQn, NVIC_EncodePriority(NVIC_GetPriorityGrouping(),0, 0));
  NVIC_EnableIRQ(DMA2_Stream0_IRQn);

}

static void MX_GPIO_Init(void)
{
  LL_GPIO_InitTypeDef GPIO_InitStruct = {0};

  /* GPIO Ports Clock Enable */
  LL_AHB1_GRP1_EnableClock(LL_AHB1_GRP1_PERIPH_GPIOC);
  LL_AHB1_GRP1_EnableClock(LL_AHB1_GRP1_PERIPH_GPIOA);
  LL_AHB1_GRP1_EnableClock(LL_AHB1_GRP1_PERIPH_GPIOB);
  LL_AHB1_GRP1_EnableClock(LL_AHB1_GRP1_PERIPH_GPIOE);
  LL_AHB1_GRP1_EnableClock(LL_AHB1_GRP1_PERIPH_GPIOD);

  /**/
  LL_GPIO_ResetOutputPin(GPIOB, LL_GPIO_PIN_2|LL_GPIO_PIN_10);

  /**/
  GPIO_InitStruct.Pin = LL_GPIO_PIN_2|LL_GPIO_PIN_10;
  GPIO_InitStruct.Mode = LL_GPIO_MODE_OUTPUT;
  GPIO_InitStruct.Speed = LL_GPIO_SPEED_FREQ_LOW;
  GPIO_InitStruct.OutputType = LL_GPIO_OUTPUT_PUSHPULL;
  GPIO_InitStruct.Pull = LL_GPIO_PULL_NO;
  LL_GPIO_Init(GPIOB, &GPIO_InitStruct);

  /**/
  GPIO_InitStruct.Pin = LL_GPIO_PIN_11|LL_GPIO_PIN_12|LL_GPIO_PIN_13;
  GPIO_InitStruct.Mode = LL_GPIO_MODE_INPUT;
  GPIO_InitStruct.Pull = LL_GPIO_PULL_NO;
  LL_GPIO_Init(GPIOB, &GPIO_InitStruct);

  /**/
  GPIO_InitStruct.Pin = LL_GPIO_PIN_8|LL_GPIO_PIN_9|LL_GPIO_PIN_10|LL_GPIO_PIN_11
                          |LL_GPIO_PIN_12;
  GPIO_InitStruct.Mode = LL_GPIO_MODE_INPUT;
  GPIO_InitStruct.Pull = LL_GPIO_PULL_NO;
  LL_GPIO_Init(GPIOD, &GPIO_InitStruct);

}

void Error_Handler(void)
{
  __disable_irq();
  while (1)
  {
  }
}
